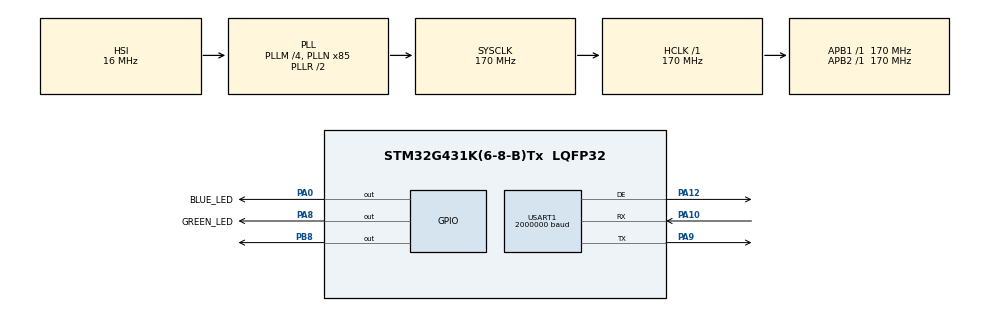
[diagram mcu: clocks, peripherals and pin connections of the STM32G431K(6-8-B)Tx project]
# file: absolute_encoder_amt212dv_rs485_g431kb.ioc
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Mcu.Family=STM32G4
Mcu.Name=STM32G431K(6-8-B)Tx
Mcu.Package=LQFP32
NUCLEO-G431KB.Bsp_Common_DEMO=true
NUCLEO-G431KB.LD2=true
NUCLEO-G431KB.VCP=true
NVIC.PriorityGroup=NVIC_PRIORITYGROUP_4
PA0.GPIO_Label=BLUE_LED
PA0.Signal=GPIO_Output
PA10.Mode=Asynchronous
PA10.Signal=USART1_RX
PA12.Mode=Hardware Flow Control (RS485)
PA12.Signal=USART1_DE
PA13.GPIO_Label=T_SWDIO
PA13.Signal=SYS_JTMS-SWDIO
PA14.GPIO_Label=T_SWCLK
PA14.Signal=SYS_JTCK-SWCLK
PA8.GPIO_Label=GREEN_LED
PA8.Signal=GPIO_Output
PA9.Mode=Asynchronous
PA9.Signal=USART1_TX
PB3.GPIO_Label=T_SWO
PB3.Signal=SYS_JTDO-SWO
PB8-BOOT0.Signal=GPIO_Output
ProjectManager.HeapSize=0x200
ProjectManager.StackSize=0x400
ProjectManager.TargetToolchain=STM32CubeIDE
RCC.ADC12Freq_Value=170000000
RCC.AHBFreq_Value=170000000
RCC.APB1Freq_Value=170000000
RCC.APB1TimFreq_Value=170000000
RCC.APB2Freq_Value=170000000
RCC.APB2TimFreq_Value=170000000
RCC.CortexFreq_Value=170000000
RCC.EXTERNAL_CLOCK_VALUE=12288000
RCC.HCLKFreq_Value=170000000
RCC.HSE_VALUE=8000000
RCC.HSI48_VALUE=48000000
RCC.HSI_VALUE=16000000
RCC.LSE_VALUE=32768
RCC.PLLM=RCC_PLLM_DIV4
RCC.PLLN=85
RCC.SYSCLKFreq_VALUE=170000000
RCC.SYSCLKSource=RCC_SYSCLKSOURCE_PLLCLK
RCC.USBFreq_Value=170000000
RCC.VCOOutputFreq_Value=340000000
USART1.BaudRate=2000000
USART1.VirtualMode-Asynchronous=VM_ASYNC
USART1.VirtualMode-Hardware\ Flow\ Control\ (RS485)=VM_ASYNC
VP_NUCLEO-G431KB_VS_BSP_COMMON.Mode=COMMON
VP_SYS_VS_DBSignals.Mode=DisableDeadBatterySignals
board=NUCLEO-G431KB

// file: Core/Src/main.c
/* USER CODE BEGIN Header */
/**
 ******************************************************************************
 * @file           : main.c
 * @brief          : Main program body
 ******************************************************************************
 * @attention
 *
 * Copyright (c) 2024 STMicroelectronics.
 * All rights reserved.
 *
 * This software is licensed under terms that can be found in the LICENSE file
 * in the root directory of this software component.
 * If no LICENSE file comes with this software, it is provided AS-IS.
 *
 ******************************************************************************
 */
/* USER CODE END Header */
#include "main.h"
#include "usart.h"
#include "gpio.h"

/* USER CODE BEGIN Includes */
#include "math.h"
#include "string.h"
/* USER CODE END Includes */

/* USER CODE BEGIN PTD */
typedef enum
{
	AMT21_DATA_OK = 0x00U, AMT21_DATA_ERROR = 0x01U
} AMT21Data_StatusTypeDef;

typedef union
{
	uint16_t uint16;
	int16_t int16;
} Uint16toInt16DecoderTypeDef;
/* USER CODE END PTD */

/* USER CODE BEGIN PD */

#define AMT21_ADDR 0x54 // can be changed using https://www.sameskydevices.com/product/motion-and-control/rotary-encoders/encoder-accessories/amt-cables/amt-pgrm-06c
#define AMT21_UART_HANDLE &huart1 // https://www.waveshare.com/wiki/RS485_Board_(3.3V)
#define AMT21_PERIOD 500
#define AMT21_TIMEOUT 1 // us

#define TOGGLE_ON_SUCCESS
//#define TOGGLE_ON_FAILURE

/* USER CODE END PD */

COM_InitTypeDef BspCOMInit;

/* USER CODE BEGIN PV */
const uint8_t ask_for_position[] =
{ AMT21_ADDR };
const uint8_t ask_for_turns[] =
{ AMT21_ADDR + 0x01 };

HAL_StatusTypeDef r485_receive_status;

uint8_t amt21_position_data[2];
AMT21Data_StatusTypeDef amt21_position_data_ok = AMT21_DATA_ERROR;
uint16_t amt21_position;

uint8_t amt21_turns_data[2];
AMT21Data_StatusTypeDef amt21_turns_data_ok = AMT21_DATA_ERROR;
int16_t amt21_turns;

Uint16toInt16DecoderTypeDef uint16_to_int16;

uint32_t AmtSoftTimer;

/* USER CODE END PV */

void SystemClock_Config(void);
/* USER CODE BEGIN PFP */
AMT21Data_StatusTypeDef IsAmtDataValid(uint8_t *_amt21_data);
/* USER CODE END PFP */

int main(void)
{

	/* MCU Configuration--------------------------------------------------------*/

	/* Reset of all peripherals, Initializes the Flash interface and the Systick. */
	HAL_Init();

	/* Configure the system clock */
	SystemClock_Config();

	/* Initialize all configured peripherals */
	MX_GPIO_Init();
	MX_USART1_UART_Init();

	/* Initialize leds */
	BSP_LED_Init(LED_GREEN);

	/* Initialize COM1 port (115200, 8 bits (7-bit data + 1 stop bit), no parity */
	BspCOMInit.BaudRate = 115200;
	BspCOMInit.WordLength = COM_WORDLENGTH_8B;
	BspCOMInit.StopBits = COM_STOPBITS_1;
	BspCOMInit.Parity = COM_PARITY_NONE;
	BspCOMInit.HwFlowCtl = COM_HWCONTROL_NONE;
	if (BSP_COM_Init(COM1, &BspCOMInit) != BSP_ERROR_NONE)
	{
		Error_Handler();
	}

	/* USER CODE BEGIN BSP */

	/* -- Sample board code to send message over COM1 port ---- */
	printf("Welcome to Same Sky absolute encoder world!\r\n\r\n");

	/* -- Sample board code to switch on leds ---- */

	/* USER CODE END BSP */

	/* Infinite loop */
	/* USER CODE BEGIN WHILE */
	AmtSoftTimer = HAL_GetTick();

	while (1)
	{
		if (HAL_GetTick() - AmtSoftTimer > AMT21_PERIOD)
		{
			AmtSoftTimer = HAL_GetTick();

			HAL_UART_Transmit(AMT21_UART_HANDLE, ask_for_position,
					sizeof(ask_for_position), AMT21_TIMEOUT);
			memset(amt21_position_data, 0x0000, 2);
			r485_receive_status = HAL_UART_Receive(AMT21_UART_HANDLE,
					amt21_position_data, 2, AMT21_TIMEOUT);

			if ((HAL_OK == r485_receive_status)
					&& (AMT21_DATA_OK == IsAmtDataValid(amt21_position_data)))
			{
				amt21_position_data_ok = AMT21_DATA_OK;
#ifdef TOGGLE_ON_SUCCESS
				HAL_GPIO_TogglePin(BLUE_LED_GPIO_Port, BLUE_LED_Pin);
#endif
				amt21_position = ((uint16_t) (amt21_position_data[0])
						| (((uint16_t) (amt21_position_data[1])) << 8))
						& 0x3FFF;
				printf("Position: %d (%.1f degrees)\r\n", amt21_position,
						((float) amt21_position) * 360 / pow(2, 14));
			}
			else
			{
				amt21_position_data_ok = AMT21_DATA_ERROR;
#ifdef TOGGLE_ON_FAILURE
			HAL_GPIO_TogglePin(BLUE_LED_GPIO_Port, BLUE_LED_Pin);
#endif
			}

			HAL_UART_Transmit(AMT21_UART_HANDLE, ask_for_turns,
					sizeof(ask_for_turns), AMT21_TIMEOUT);
			memset(amt21_turns_data, 0x0000, 2);
			r485_receive_status = HAL_UART_Receive(AMT21_UART_HANDLE,
					amt21_turns_data, 2, AMT21_TIMEOUT);

			if ((HAL_OK == r485_receive_status)
					&& (AMT21_DATA_OK == IsAmtDataValid(amt21_turns_data)))
			{
				amt21_turns_data_ok = AMT21_DATA_OK;
#ifdef TOGGLE_ON_SUCCESS
				HAL_GPIO_TogglePin(GREEN_LED_GPIO_Port, GREEN_LED_Pin);
#endif
				uint16_to_int16.uint16 = ((uint16_t) (amt21_turns_data[0])
						| (((uint16_t) (amt21_turns_data[1])) << 8)) << 2;
				amt21_turns = uint16_to_int16.int16 / 4;
				printf("Number of turns: %d\r\n\r\n", amt21_turns);
			}
			else
			{
				amt21_turns_data_ok = AMT21_DATA_ERROR;
#ifdef TOGGLE_ON_FAILURE
			HAL_GPIO_TogglePin(GREEN_LED_GPIO_Port, GREEN_LED_Pin);
#endif
			}

		}
		/* USER CODE END WHILE */

	}
}

void SystemClock_Config(void)
{
	RCC_OscInitTypeDef RCC_OscInitStruct =
	{ 0 };
	RCC_ClkInitTypeDef RCC_ClkInitStruct =
	{ 0 };

	/** Configure the main internal regulator output voltage
	 */
	HAL_PWREx_ControlVoltageScaling(PWR_REGULATOR_VOLTAGE_SCALE1_BOOST);

	/** Initializes the RCC Oscillators according to the specified parameters
	 * in the RCC_OscInitTypeDef structure.
	 */
	RCC_OscInitStruct.OscillatorType = RCC_OSCILLATORTYPE_HSI;
	RCC_OscInitStruct.HSIState = RCC_HSI_ON;
	RCC_OscInitStruct.HSICalibrationValue = RCC_HSICALIBRATION_DEFAULT;
	RCC_OscInitStruct.PLL.PLLState = RCC_PLL_ON;
	RCC_OscInitStruct.PLL.PLLSource = RCC_PLLSOURCE_HSI;
	RCC_OscInitStruct.PLL.PLLM = RCC_PLLM_DIV4;
	RCC_OscInitStruct.PLL.PLLN = 85;
	RCC_OscInitStruct.PLL.PLLP = RCC_PLLP_DIV2;
	RCC_OscInitStruct.PLL.PLLQ = RCC_PLLQ_DIV2;
	RCC_OscInitStruct.PLL.PLLR = RCC_PLLR_DIV2;
	if (HAL_RCC_OscConfig(&RCC_OscInitStruct) != HAL_OK)
	{
		Error_Handler();
	}

	/** Initializes the CPU, AHB and APB buses clocks
	 */
	RCC_ClkInitStruct.ClockType = RCC_CLOCKTYPE_HCLK | RCC_CLOCKTYPE_SYSCLK
			| RCC_CLOCKTYPE_PCLK1 | RCC_CLOCKTYPE_PCLK2;
	RCC_ClkInitStruct.SYSCLKSource = RCC_SYSCLKSOURCE_PLLCLK;
	RCC_ClkInitStruct.AHBCLKDivider = RCC_SYSCLK_DIV1;
	RCC_ClkInitStruct.APB1CLKDivider = RCC_HCLK_DIV1;
	RCC_ClkInitStruct.APB2CLKDivider = RCC_HCLK_DIV1;

	if (HAL_RCC_ClockConfig(&RCC_ClkInitStruct, FLASH_LATENCY_4) != HAL_OK)
	{
		Error_Handler();
	}
}

/* USER CODE BEGIN 4 */
AMT21Data_StatusTypeDef IsAmtDataValid(uint8_t *_amt21_data)
{
	uint16_t data = (uint16_t) (_amt21_data[0])
			| (((uint16_t) (_amt21_data[1])) << 8);
	uint8_t csum0 = 0;
	uint8_t csum1 = 0;
	for (uint8_t i = 0; i < 8; i++)
	{
		csum0 ^= (data >> i * 2) & 1;
		csum1 ^= (data >> (i * 2 + 1)) & 1;
	}
	if (csum0 && csum1)
	{
		return AMT21_DATA_OK;
	}
	else
	{
		return AMT21_DATA_ERROR;
	}
}
/* USER CODE END 4 */

/* USER CODE BEGIN Header */
/**
 ******************************************************************************
 * @file           : main.c
 * @brief          : Main program body
 ******************************************************************************
 * @attention
 *
 * Copyright (c) 2024 STMicroelectronics.
 * All rights reserved.
 *
 * This software is licensed under terms that can be found in the LICENSE file
 * in the root directory of this software component.
 * If no LICENSE file comes with this software, it is provided AS-IS.
 *
 ******************************************************************************
 */
/* USER CODE END Header */

void Error_Handler(void)
{
	__disable_irq();
	while (1)
	{
	}
}
